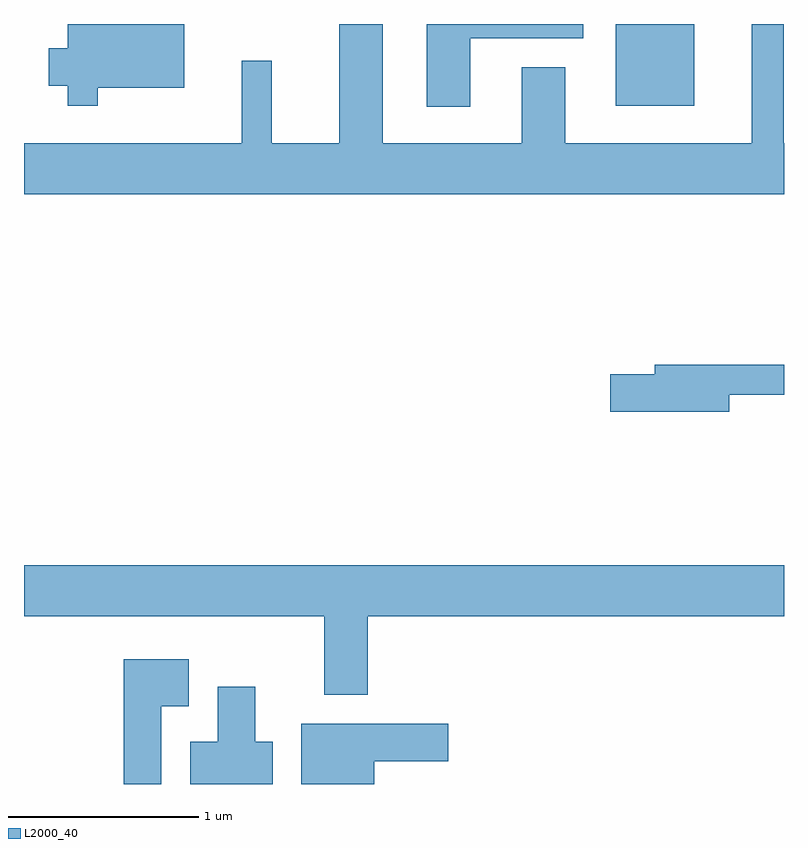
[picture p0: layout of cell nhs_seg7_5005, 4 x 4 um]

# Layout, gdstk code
import gdstk
lib = gdstk.Library(unit=1e-6, precision=1e-09)
def R(c, l, rs):  # rectangles x0, y0, x1, y1
    for r in rs: c.add(gdstk.rectangle(r[:2], r[2:], *l))
def P(c, l, *ps):  # polygons
    for p in ps: c.add(gdstk.Polygon(p, *l))
L2000_40 = (2000, 40)

nhs_seg7_5005 = lib.new_cell('nhs_seg7_5005')
R(nhs_seg7_5005, L2000_40, [(340.726,1785.821,341.139,1786.252)])
P(nhs_seg7_5005, L2000_40, [(341.611,1785.624),(341.609,1785.624),(341.609,1786.252),(341.441,1786.252),(341.441,1785.624),(340.459,1785.624),(340.459,1786.024),(340.231,1786.024),(340.231,1785.624),(339.499,1785.624),(339.499,1786.252),(339.271,1786.252),(339.271,1785.624),(338.914,1785.624),(338.914,1786.058),(338.756,1786.058),(338.756,1785.624),(337.611,1785.624),(337.611,1785.356),(341.611,1785.356)],
  [(337.999,1785.916),(338.454,1785.916),(338.454,1786.252),(337.841,1786.252),(337.841,1786.124),(337.741,1786.124),(337.741,1785.926),(337.841,1785.926),(337.841,1785.821),(337.999,1785.821)],
  [(339.959,1786.176),(340.554,1786.176),(340.554,1786.252),(339.731,1786.252),(339.731,1785.816),(339.959,1785.816)],
  [(341.324,1784.301),(341.611,1784.301),(341.611,1784.459),(340.931,1784.459),(340.931,1784.409),(340.696,1784.409),(340.696,1784.211),(341.324,1784.211)],
  [(339.419,1783.136),(341.611,1783.136),(341.611,1783.404),(337.611,1783.404),(337.611,1783.136),(339.191,1783.136),(339.191,1782.721),(339.419,1782.721)],
  [(338.334,1782.661),(338.479,1782.661),(338.479,1782.909),(338.136,1782.909),(338.136,1782.252),(338.334,1782.252)],
  [(338.919,1782.474),(338.829,1782.474),(338.829,1782.764),(338.631,1782.764),(338.631,1782.474),(338.486,1782.474),(338.486,1782.252),(338.919,1782.252)],
  [(339.454,1782.371),(339.844,1782.371),(339.844,1782.569),(339.071,1782.569),(339.071,1782.252),(339.454,1782.252)])

lib.write_gds('nhs_seg7_5005.gds')
